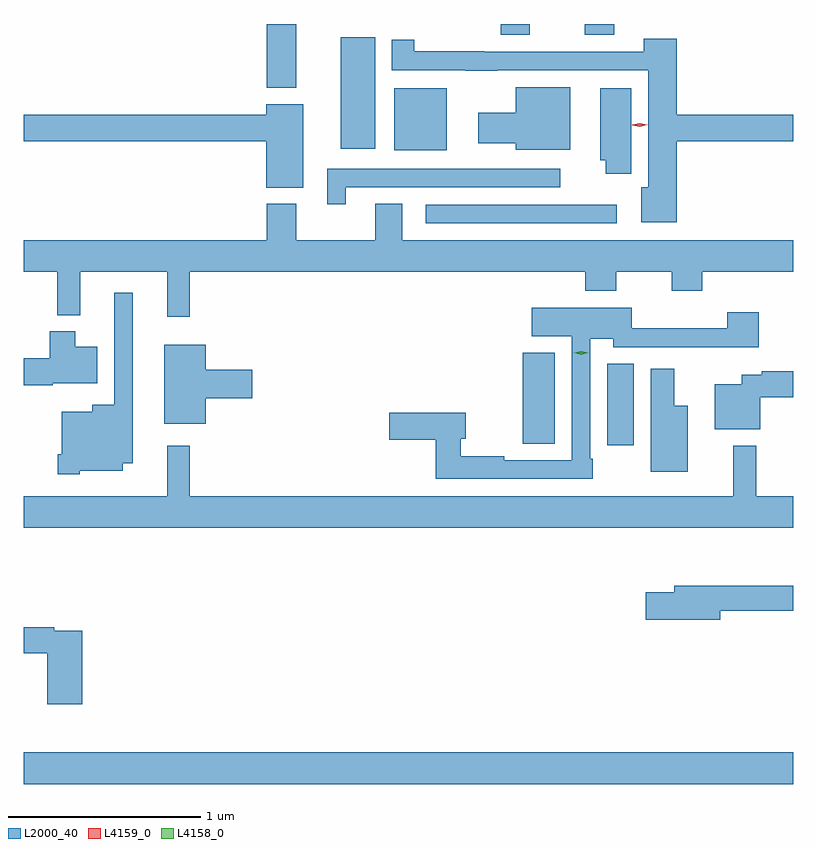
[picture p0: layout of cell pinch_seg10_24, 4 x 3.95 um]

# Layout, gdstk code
import gdstk
lib = gdstk.Library(unit=1e-6, precision=1e-09)
def R(c, l, rs):  # rectangles x0, y0, x1, y1
    for r in rs: c.add(gdstk.rectangle(r[:2], r[2:], *l))
def P(c, l, *ps):  # polygons
    for p in ps: c.add(gdstk.Polygon(p, *l))
L2000_40 = (2000, 40)
L4158_0 = (4158, 0)
L4159_0 = (4159, 0)

pinch_seg10_24 = lib.new_cell('pinch_seg10_24')
R(pinch_seg10_24, L2000_40, [(944.875,1283,948.875,1283.164), (947.909,1284.762,948.046,1285.187), (947.468,1284.769,947.635,1285.243), (946.965,1285.917,947.959,1286.013), (946.802,1286.297,947.074,1286.62), (946.523,1286.303,946.702,1286.884), (946.139,1286.621,946.291,1286.953), (947.354,1286.897,947.506,1286.953), (947.792,1286.897,947.945,1286.953)])
P(pinch_seg10_24, L2000_40, [(948.269,1286.344),(948.875,1286.344),(948.875,1286.48),(948.269,1286.48),(948.269,1286.875),(948.098,1286.875),(948.098,1286.808),(947.27,1286.808),(947.27,1286.81),(946.905,1286.81),(946.905,1286.872),(946.787,1286.872),(946.787,1286.712),(947.17,1286.712),(947.17,1286.71),(947.336,1286.71),(947.336,1286.712),(948.122,1286.712),(948.122,1286.104),(948.086,1286.104),(948.086,1285.922),(948.269,1285.922)],
  [(947.716,1286.623),(947.432,1286.623),(947.432,1286.491),(947.238,1286.491),(947.238,1286.333),(947.432,1286.333),(947.432,1286.3),(947.716,1286.3)],
  [(948.034,1286.62),(947.873,1286.62),(947.873,1286.244),(947.9,1286.244),(947.9,1286.175),(948.034,1286.175)],
  [(946.327,1286.536),(946.136,1286.536),(946.136,1286.48),(944.875,1286.48),(944.875,1286.344),(946.136,1286.344),(946.136,1286.102),(946.327,1286.102)],
  [(946.549,1286.103),(947.665,1286.103),(947.665,1286.199),(946.452,1286.199),(946.452,1286.016),(946.549,1286.016)],
  [(945.737,1285.664),(947.795,1285.664),(947.795,1285.565),(947.955,1285.565),(947.955,1285.664),(948.244,1285.664),(948.244,1285.565),(948.404,1285.565),(948.404,1285.664),(948.875,1285.664),(948.875,1285.828),(946.843,1285.828),(946.843,1286.018),(946.703,1286.018),(946.703,1285.828),(946.291,1285.828),(946.291,1286.017),(946.139,1286.017),(946.139,1285.828),(944.875,1285.828),(944.875,1285.664),(945.049,1285.664),(945.049,1285.439),(945.167,1285.439),(945.167,1285.664),(945.62,1285.664),(945.62,1285.431),(945.737,1285.431)],
  [(945.165,1284.629),(945.388,1284.629),(945.388,1284.668),(945.442,1284.668),(945.442,1285.555),(945.345,1285.555),(945.345,1284.973),(945.23,1284.973),(945.23,1284.937),(945.071,1284.937),(945.071,1284.715),(945.05,1284.715),(945.05,1284.611),(945.165,1284.611)],
  [(947.833,1284.691),(947.82,1284.691),(947.82,1285.316),(947.94,1285.316),(947.94,1285.272),(948.449,1285.272),(948.449,1285.271),(948.698,1285.271),(948.698,1285.453),(948.533,1285.453),(948.533,1285.37),(948.036,1285.37),(948.036,1285.477),(947.517,1285.477),(947.517,1285.328),(947.724,1285.328),(947.724,1284.684),(947.372,1284.684),(947.372,1284.704),(947.146,1284.704),(947.146,1284.797),(947.172,1284.797),(947.172,1284.932),(946.776,1284.932),(946.776,1284.79),(947.017,1284.79),(947.017,1284.588),(947.833,1284.588)],
  [(945.024,1285.085),(945.256,1285.085),(945.256,1285.273),(945.142,1285.273),(945.142,1285.354),(945.008,1285.354),(945.008,1285.215),(944.875,1285.215),(944.875,1285.073),(945.024,1285.073)],
  [(945.82,1285.007),(946.063,1285.007),(946.063,1285.154),(945.82,1285.154),(945.82,1285.285),(945.605,1285.285),(945.605,1284.875),(945.82,1284.875)],
  [(948.328,1284.967),(948.256,1284.967),(948.256,1285.159),(948.134,1285.159),(948.134,1284.623),(948.328,1284.623)],
  [(948.705,1285.012),(948.875,1285.012),(948.875,1285.148),(948.712,1285.148),(948.712,1285.129),(948.609,1285.129),(948.609,1285.078),(948.467,1285.078),(948.467,1284.845),(948.705,1284.845)],
  [(948.875,1284.496),(948.683,1284.496),(948.683,1284.76),(948.565,1284.76),(948.565,1284.496),(945.737,1284.496),(945.737,1284.76),(945.619,1284.76),(945.619,1284.496),(944.875,1284.496),(944.875,1284.332),(948.875,1284.332)],
  [(948.496,1283.902),(948.875,1283.902),(948.875,1284.031),(948.257,1284.031),(948.257,1283.997),(948.108,1283.997),(948.108,1283.855),(948.496,1283.855)],
  [(945.179,1283.796),(945.032,1283.796),(945.032,1283.816),(944.875,1283.816),(944.875,1283.68),(944.996,1283.68),(944.996,1283.415),(945.179,1283.415)])
P(pinch_seg10_24, L4158_0, [(947.773,1285.232),(947.738,1285.242),(947.738,1285.242),(947.738,1285.242),(947.773,1285.252),(947.808,1285.242),(947.808,1285.242),(947.808,1285.242)])
P(pinch_seg10_24, L4159_0, [(948.078,1286.418),(948.038,1286.427),(948.038,1286.428),(948.038,1286.428),(948.078,1286.438),(948.118,1286.429),(948.118,1286.429),(948.118,1286.429)])

lib.write_gds('pinch_seg10_24.gds')
